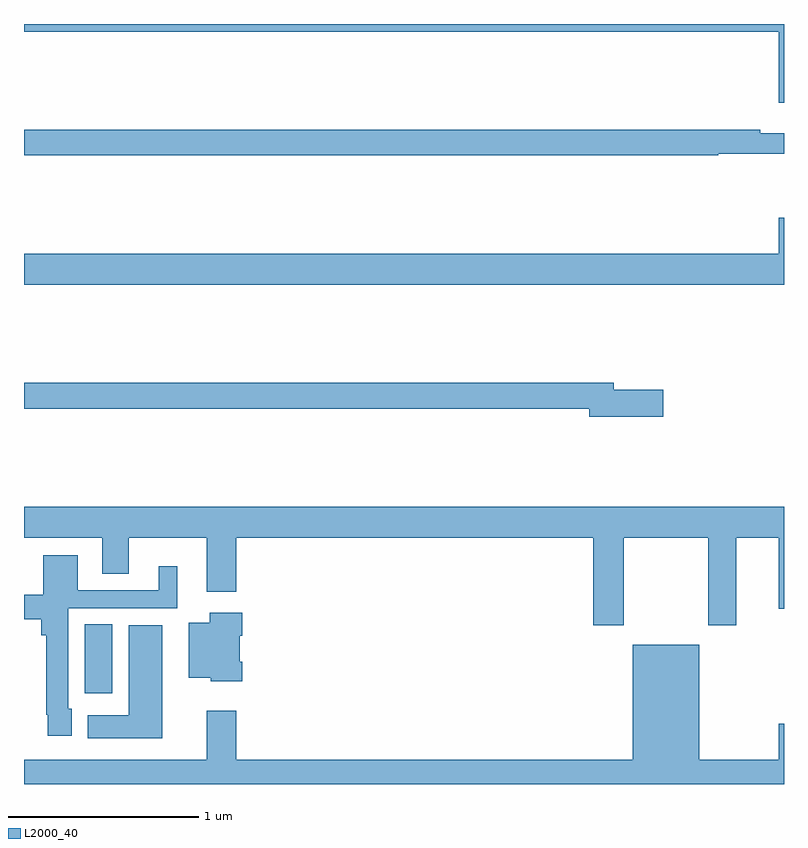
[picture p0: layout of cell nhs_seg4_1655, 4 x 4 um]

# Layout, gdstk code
import gdstk
lib = gdstk.Library(unit=1e-6, precision=1e-09)
def R(c, l, rs):  # rectangles x0, y0, x1, y1
    for r in rs: c.add(gdstk.rectangle(r[:2], r[2:], *l))
def P(c, l, *ps):  # polygons
    for p in ps: c.add(gdstk.Polygon(p, *l))
L2000_40 = (2000, 40)

nhs_seg4_1655 = lib.new_cell('nhs_seg4_1655')
R(nhs_seg4_1655, L2000_40, [(197.321,753.378,197.464,753.74)])
P(nhs_seg4_1655, L2000_40, [(197,756.86),(200.972,756.86),(200.972,756.486),(201,756.486),(201,756.9),(197,756.9)],
  [(200.655,756.216),(201,756.216),(201,756.325),(200.876,756.325),(200.876,756.344),(197,756.344),(197,756.208),(200.655,756.208)],
  [(201,755.881),(200.972,755.881),(200.972,755.692),(197,755.692),(197,755.528),(201,755.528)],
  [(200.365,754.976),(200.104,754.976),(200.104,755.012),(197,755.012),(197,754.876),(199.976,754.876),(199.976,754.834),(200.365,754.834)],
  [(200.157,754.196),(200.602,754.196),(200.602,753.735),(200.749,753.735),(200.749,754.196),(200.972,754.196),(200.972,753.822),(201,753.822),(201,754.36),(197,754.36),(197,754.196),(197.411,754.196),(197.411,754.006),(197.551,754.006),(197.551,754.196),(197.963,754.196),(197.963,753.912),(198.116,753.912),(198.116,754.196),(199.997,754.196),(199.997,753.735),(200.157,753.735)],
  [(197.251,753.297),(197.232,753.297),(197.232,753.825),(197.806,753.825),(197.806,754.045),(197.708,754.045),(197.708,753.921),(197.284,753.921),(197.284,754.105),(197.102,754.105),(197.102,753.895),(197,753.895),(197,753.766),(197.09,753.766),(197.09,753.683),(197.116,753.683),(197.116,753.265),(197.124,753.265),(197.124,753.153),(197.251,753.153)],
  [(198.149,753.544),(198.136,753.544),(198.136,753.68),(198.149,753.68),(198.149,753.802),(197.978,753.802),(197.978,753.748),(197.867,753.748),(197.867,753.458),(197.982,753.458),(197.982,753.44),(198.149,753.44)],
  [(197.728,753.736),(197.552,753.736),(197.552,753.262),(197.336,753.262),(197.336,753.14),(197.728,753.14)],
  [(201,753.217),(200.972,753.217),(200.972,753.028),(200.554,753.028),(200.554,753.634),(200.204,753.634),(200.204,753.028),(198.116,753.028),(198.116,753.286),(197.963,753.286),(197.963,753.028),(197,753.028),(197,752.9),(201,752.9)])

lib.write_gds('nhs_seg4_1655.gds')
